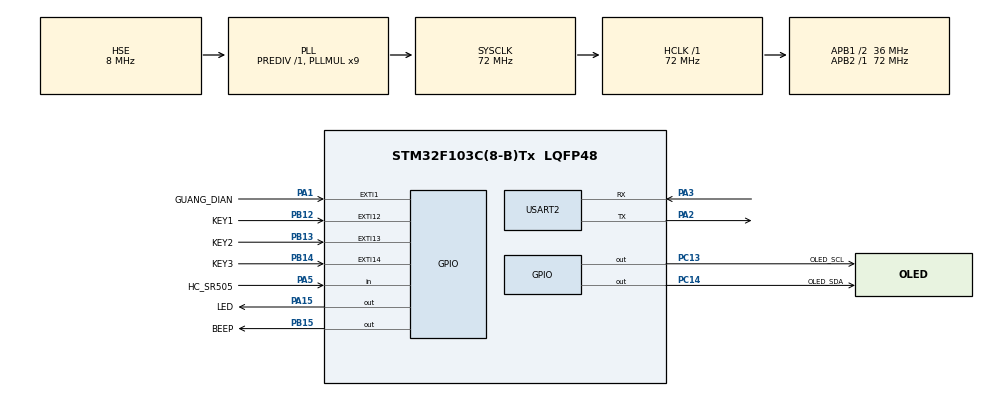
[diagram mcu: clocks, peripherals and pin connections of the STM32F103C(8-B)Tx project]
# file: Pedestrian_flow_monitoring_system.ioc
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Mcu.Family=STM32F1
Mcu.Name=STM32F103C(8-B)Tx
Mcu.Package=LQFP48
NVIC.EXTI15_10_IRQn=true\:0\:0\:false\:false\:true\:true\:true\:true
NVIC.EXTI1_IRQn=true\:1\:0\:true\:false\:true\:true\:true\:true
NVIC.PriorityGroup=NVIC_PRIORITYGROUP_4
NVIC.USART2_IRQn=true\:2\:0\:true\:false\:true\:true\:true\:true
PA1.GPIO_Label=GUANG_DIAN
PA1.GPIO_ModeDefaultEXTI=GPIO_MODE_IT_RISING
PA1.GPIO_PuPd=GPIO_PULLDOWN
PA1.Signal=GPXTI1
PA13.Mode=Serial_Wire
PA13.Signal=SYS_JTMS-SWDIO
PA14.Mode=Serial_Wire
PA14.Signal=SYS_JTCK-SWCLK
PA15.GPIO_Label=LED
PA15.GPIO_ModeDefaultOutputPP=GPIO_MODE_OUTPUT_PP
PA15.GPIO_PuPd=GPIO_PULLUP
PA15.GPIO_Speed=GPIO_SPEED_FREQ_HIGH
PA15.PinState=GPIO_PIN_SET
PA15.Signal=GPIO_Output
PA2.Mode=Asynchronous
PA2.Signal=USART2_TX
PA3.Mode=Asynchronous
PA3.Signal=USART2_RX
PA5.GPIO_Label=HC_SR505
PA5.GPIO_Mode=GPIO_MODE_INPUT
PA5.GPIO_PuPd=GPIO_PULLDOWN
PA5.Signal=GPIO_Input
PB12.GPIO_Label=KEY1
PB12.GPIO_ModeDefaultEXTI=GPIO_MODE_IT_FALLING
PB12.GPIO_PuPd=GPIO_PULLUP
PB12.Signal=GPXTI12
PB13.GPIO_Label=KEY2
PB13.GPIO_ModeDefaultEXTI=GPIO_MODE_IT_FALLING
PB13.GPIO_PuPd=GPIO_PULLUP
PB13.Signal=GPXTI13
PB14.GPIO_Label=KEY3
PB14.GPIO_ModeDefaultEXTI=GPIO_MODE_IT_FALLING
PB14.GPIO_PuPd=GPIO_PULLUP
PB14.Signal=GPXTI14
PB15.GPIO_Label=BEEP
PB15.GPIO_ModeDefaultOutputPP=GPIO_MODE_OUTPUT_PP
PB15.GPIO_PuPd=GPIO_PULLUP
PB15.GPIO_Speed=GPIO_SPEED_FREQ_HIGH
PB15.PinState=GPIO_PIN_SET
PB15.Signal=GPIO_Output
PC13-TAMPER-RTC.GPIO_Label=OLED_SCL
PC13-TAMPER-RTC.GPIO_ModeDefaultOutputPP=GPIO_MODE_OUTPUT_PP
PC13-TAMPER-RTC.GPIO_PuPd=GPIO_PULLUP
PC13-TAMPER-RTC.GPIO_Speed=GPIO_SPEED_FREQ_HIGH
PC13-TAMPER-RTC.PinState=GPIO_PIN_SET
PC13-TAMPER-RTC.Signal=GPIO_Output
PC14-OSC32_IN.GPIO_Label=OLED_SDA
PC14-OSC32_IN.GPIO_ModeDefaultOutputPP=GPIO_MODE_OUTPUT_PP
PC14-OSC32_IN.GPIO_PuPd=GPIO_PULLUP
PC14-OSC32_IN.GPIO_Speed=GPIO_SPEED_FREQ_HIGH
PC14-OSC32_IN.PinState=GPIO_PIN_SET
PC14-OSC32_IN.Signal=GPIO_Output
PD0-OSC_IN.Mode=HSE-External-Oscillator
PD0-OSC_IN.Signal=RCC_OSC_IN
PD1-OSC_OUT.Mode=HSE-External-Oscillator
PD1-OSC_OUT.Signal=RCC_OSC_OUT
ProjectManager.HeapSize=0x200
ProjectManager.StackSize=0x400
ProjectManager.TargetToolchain=MDK-ARM V5.32
RCC.AHBFreq_Value=72000000
RCC.APB1CLKDivider=RCC_HCLK_DIV2
RCC.APB1Freq_Value=36000000
RCC.APB1TimFreq_Value=72000000
RCC.APB2Freq_Value=72000000
RCC.APB2TimFreq_Value=72000000
RCC.HCLKFreq_Value=72000000
RCC.PLLMUL=RCC_PLL_MUL9
RCC.PLLSourceVirtual=RCC_PLLSOURCE_HSE
RCC.SYSCLKFreq_VALUE=72000000
RCC.SYSCLKSource=RCC_SYSCLKSOURCE_PLLCLK
RCC.USBFreq_Value=72000000
USART2.VirtualMode=VM_ASYNC
board=custom

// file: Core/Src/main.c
/* USER CODE BEGIN Header */
/**
  ******************************************************************************
  * @file           : main.c
  * @brief          : Main program body
  ******************************************************************************
  * @attention
  *
  * Copyright (c) 2026 STMicroelectronics.
  * All rights reserved.
  *
  * This software is licensed under terms that can be found in the LICENSE file
  * in the root directory of this software component.
  * If no LICENSE file comes with this software, it is provided AS-IS.
  *
  ******************************************************************************
  */
/* USER CODE END Header */
#include "main.h"
#include "usart.h"
#include "gpio.h"

/* USER CODE BEGIN Includes */
#include "oled.h"
/* USER CODE END Includes */

/* USER CODE BEGIN PV */
uint32_t pedestrian_count = 0; // 人流计数变量
uint32_t last_interrupt_time = 0; // 上次中断时间，用于防抖
#define DEBOUNCE_TIME 200 // 防抖时间，单位ms

uint8_t hc_sr505_count = 0; // HC_SR505连续高电平计数
#define HC_SR505_THRESHOLD 5 // 连续高电平阈值
uint8_t hc_sr505_valid = 0; // HC_SR505有效标志

uint16_t threshold = 50; // 计数人数阈值，默认50人
uint8_t setting_mode = 0; // 设置模式标志，0-正常模式，1-设置模式

// 蜂鸣器和LED控制变量
uint8_t alarm_active = 0; // 报警激活标志
uint32_t alarm_start_time = 0; // 报警开始时间
#define ALARM_DURATION 5000 // 报警持续时间，单位ms
uint8_t alarm_triggered = 0; // 报警已触发标志，0-未触发，1-已触发

// 蓝牙连接状态
uint8_t ble_connected = 0; // 蓝牙连接状态，0-未连接，1-已连接

// 串口2接收缓冲区
uint8_t uart2_rx_buffer[100]; // 接收缓冲区
uint8_t uart2_rx_index = 0; // 接收索引
#define UART2_BUFFER_SIZE 100 // 缓冲区大小

// FLASH相关定义
#define FLASH_USER_START_ADDR   ((uint32_t)0x0801FC00) // FLASH用户存储区起始地址
#define FLASH_USER_END_ADDR     ((uint32_t)0x08020000) // FLASH用户存储区结束地址
/* USER CODE END PV */

void SystemClock_Config(void);
/* USER CODE BEGIN PFP */
void FLASH_WriteThreshold(uint16_t value);
uint16_t FLASH_ReadThreshold(void);
void EnterSettingMode(void);
void ExitSettingMode(void);
void UpdateThresholdDisplay(void);
void HAL_UART_RxCpltCallback(UART_HandleTypeDef *huart);
void CheckBLEStatus(void);
/* USER CODE END PFP */

/* USER CODE BEGIN 0 */

/**
  * @brief  写入阈值到FLASH
  * @param  value: 要写入的阈值
  * @retval None
  */
void FLASH_WriteThreshold(uint16_t value)
{
  HAL_FLASH_Unlock();

  // 擦除FLASH扇区
  FLASH_EraseInitTypeDef EraseInitStruct;
  EraseInitStruct.TypeErase = FLASH_TYPEERASE_PAGES;
  EraseInitStruct.PageAddress = FLASH_USER_START_ADDR;
  EraseInitStruct.NbPages = 1;

  uint32_t PageError = 0;
  HAL_FLASHEx_Erase(&EraseInitStruct, &PageError);

  // 写入阈值
  HAL_FLASH_Program(FLASH_TYPEPROGRAM_HALFWORD, FLASH_USER_START_ADDR, value);

  HAL_FLASH_Lock();
}

/**
  * @brief  从FLASH读取阈值
  * @retval 读取的阈值
  */
uint16_t FLASH_ReadThreshold(void)
{
  return *(__IO uint16_t*)FLASH_USER_START_ADDR;
}

/**
  * @brief  进入设置模式
  * @retval None
  */
void EnterSettingMode(void)
{
  setting_mode = 1;
  UpdateThresholdDisplay();
}

/**
  * @brief  退出设置模式
  * @retval None
  */
void ExitSettingMode(void)
{
  setting_mode = 0;
  // 保存阈值到FLASH
  FLASH_WriteThreshold(threshold);
  // 显示正常模式界面
  OLED_Clear();
  OLED_ShowString(0, 0, (uint8_t*)"Count:", 8, 1);
  OLED_ShowNum(40, 0, pedestrian_count, 4, 8, 1);
  OLED_ShowString(72, 0, (uint8_t*)"people", 8, 1);
  // 显示蓝牙连接状态
  if(ble_connected)
  {
    OLED_ShowString(0, 8, (uint8_t*)"BLE: Connected", 8, 1);
  }
  else
  {
    OLED_ShowString(0, 8, (uint8_t*)"BLE: Disconnected", 8, 1);
  }
  OLED_Refresh();
}

/**
  * @brief  更新阈值显示
  * @retval None
  */
void UpdateThresholdDisplay(void)
{
  OLED_Clear();
  OLED_ShowString(0, 0, (uint8_t*)"Setting Threshold", 8, 1);
  OLED_ShowString(0, 8, (uint8_t*)"Threshold:", 8, 1);
  OLED_ShowNum(56, 8, threshold, 3, 8, 1);
  OLED_ShowString(80, 8, (uint8_t*)"people", 8, 1);
  OLED_ShowString(0, 16, (uint8_t*)"KEY2: -10", 8, 1);
  OLED_ShowString(0, 24, (uint8_t*)"KEY3: +10", 8, 1);
  OLED_Refresh();
}

/**
  * @brief  UART Receive Completed Callback
  * @param  huart: UART handle
  * @retval None
  */
void HAL_UART_RxCpltCallback(UART_HandleTypeDef *huart)
{
  if(huart == &huart2)
  {
    // 读取接收到的数据
    static uint8_t rx_data;

    // 存储到缓冲区
    if(uart2_rx_index < UART2_BUFFER_SIZE - 1)
    {
      uart2_rx_buffer[uart2_rx_index++] = rx_data;
      uart2_rx_buffer[uart2_rx_index] = '\0'; // 确保字符串结束
    }
    else
    {
      // 缓冲区满，重置索引
      uart2_rx_index = 0;
    }

    // 检查是否接收到换行符或回车符，表示消息结束
    if(rx_data == '\n' || rx_data == '\r' || uart2_rx_index >= UART2_BUFFER_SIZE - 1)
    {
      // 检查蓝牙连接状态
      CheckBLEStatus();
    }

    // 重新启动接收中断
    HAL_UART_Receive_IT(&huart2, &rx_data, 1);
  }
}

/**
  * @brief  检查蓝牙连接状态并显示串口数据
  * @retval None
  */
void CheckBLEStatus(void)
{
  // 检查是否包含"CONNECT OK"
  if(strstr((char*)uart2_rx_buffer, "CONNECT OK") != NULL)
  {
    ble_connected = 1;
    // 如果不在设置模式，更新显示
    if(!setting_mode)
    {
      OLED_Clear();
      OLED_ShowString(0, 0, (uint8_t*)"Count:", 8, 1);
      OLED_ShowNum(40, 0, pedestrian_count, 4, 8, 1);
      OLED_ShowString(72, 0, (uint8_t*)"people", 8, 1);
      OLED_ShowString(0, 8, (uint8_t*)"BLE: Connected", 8, 1);
//      OLED_ShowString(0, 16, (uint8_t*)"Rx:", 8, 1);
//      OLED_ShowString(24, 16, uart2_rx_buffer, 8, 1);
      OLED_Refresh();
    }
    // 清空缓冲区
    uart2_rx_index = 0;
    memset(uart2_rx_buffer, 0, UART2_BUFFER_SIZE);
  }
  // 检查是否包含"DISCONNECT"
  else if(strstr((char*)uart2_rx_buffer, "DISCONNECT") != NULL)
  {
    ble_connected = 0;
    // 如果不在设置模式，更新显示
    if(!setting_mode)
    {
      OLED_Clear();
      OLED_ShowString(0, 0, (uint8_t*)"Count:", 8, 1);
      OLED_ShowNum(40, 0, pedestrian_count, 4, 8, 1);
      OLED_ShowString(72, 0, (uint8_t*)"people", 8, 1);
      OLED_ShowString(0, 8, (uint8_t*)"BLE: Disconnected", 8, 1);
      OLED_ShowString(0, 16, (uint8_t*)"Rx:", 8, 1);
      OLED_ShowString(24, 16, uart2_rx_buffer, 8, 1);
      OLED_Refresh();
    }
    // 清空缓冲区
    uart2_rx_index = 0;
    memset(uart2_rx_buffer, 0, UART2_BUFFER_SIZE);
  }
  // 检查是否包含"clear"命令
  else if(strstr((char*)uart2_rx_buffer, "clear") != NULL)
  {
    // 清理检测到的人数
    pedestrian_count = 0;
    alarm_triggered = 0;
    // 如果不在设置模式，更新显示
    if(!setting_mode)
    {
      OLED_Clear();
      OLED_ShowString(0, 0, (uint8_t*)"Count:", 8, 1);
      OLED_ShowNum(40, 0, pedestrian_count, 4, 8, 1);
      OLED_ShowString(72, 0, (uint8_t*)"people", 8, 1);
      // 显示蓝牙连接状态
      if(ble_connected)
      {
        OLED_ShowString(0, 8, (uint8_t*)"BLE: Connected", 8, 1);
      }
      else
      {
        OLED_ShowString(0, 8, (uint8_t*)"BLE: Disconnected", 8, 1);
      }
      OLED_ShowString(0, 16, (uint8_t*)"Clear count done", 8, 1);
      OLED_Refresh();
    }
    // 清空缓冲区
    uart2_rx_index = 0;
    memset(uart2_rx_buffer, 0, UART2_BUFFER_SIZE);
  }
  // 检查是否包含"alert"命令
  else if(strstr((char*)uart2_rx_buffer, "alert") != NULL)
  {
    // 手动触发报警
    alarm_active = 1;
    alarm_start_time = HAL_GetTick();
    alarm_triggered = 1;
    // 控制蜂鸣器和LED
    HAL_GPIO_WritePin(BEEP_GPIO_Port, BEEP_Pin, GPIO_PIN_RESET);
    HAL_GPIO_WritePin(LED_GPIO_Port, LED_Pin, GPIO_PIN_RESET);
    // 如果不在设置模式，更新显示
    if(!setting_mode)
    {
      OLED_Clear();
      OLED_ShowString(0, 0, (uint8_t*)"Count:", 8, 1);
      OLED_ShowNum(40, 0, pedestrian_count, 4, 8, 1);
      OLED_ShowString(72, 0, (uint8_t*)"people", 8, 1);
      // 显示蓝牙连接状态
      if(ble_connected)
      {
        OLED_ShowString(0, 8, (uint8_t*)"BLE: Connected", 8, 1);
      }
      else
      {
        OLED_ShowString(0, 8, (uint8_t*)"BLE: Disconnected", 8, 1);
      }
      OLED_ShowString(0, 16, (uint8_t*)"Manual alarm", 8, 1);
      OLED_Refresh();
    }
    // 清空缓冲区
    uart2_rx_index = 0;
    memset(uart2_rx_buffer, 0, UART2_BUFFER_SIZE);
  }
  // 其他数据，直接显示
  else if(uart2_rx_index > 0)
  {
    // 如果不在设置模式，更新显示
    if(!setting_mode)
    {
      OLED_Clear();
      OLED_ShowString(0, 0, (uint8_t*)"Count:", 8, 1);
      OLED_ShowNum(40, 0, pedestrian_count, 4, 8, 1);
      OLED_ShowString(72, 0, (uint8_t*)"people", 8, 1);
      // 显示蓝牙连接状态
      if(ble_connected)
      {
        OLED_ShowString(0, 8, (uint8_t*)"BLE: Connected", 8, 1);
      }
      else
      {
        OLED_ShowString(0, 8, (uint8_t*)"BLE: Disconnected", 8, 1);
      }
      // 显示接收到的数据
      OLED_ShowString(0, 16, (uint8_t*)"Rx:", 8, 1);
      OLED_ShowString(24, 16, uart2_rx_buffer, 8, 1);
      OLED_Refresh();
    }
    // 清空缓冲区
    uart2_rx_index = 0;
    memset(uart2_rx_buffer, 0, UART2_BUFFER_SIZE);
  }
}

/* USER CODE END 0 */

int main(void)
{

  /* MCU Configuration--------------------------------------------------------*/

  /* Reset of all peripherals, Initializes the Flash interface and the Systick. */
  HAL_Init();

  /* Configure the system clock */
  SystemClock_Config();

  /* Initialize all configured peripherals */
  MX_GPIO_Init();
  /* USER CODE BEGIN 2 */
  OLED_Init();

  // 初始化BEEP和LED为关闭状态（高电平）
  HAL_GPIO_WritePin(BEEP_GPIO_Port, BEEP_Pin, GPIO_PIN_SET);
  HAL_GPIO_WritePin(LED_GPIO_Port, LED_Pin, GPIO_PIN_SET);

  // 初始化串口2
  MX_USART2_UART_Init();

  // 从FLASH读取阈值
  uint16_t saved_threshold = FLASH_ReadThreshold();
  // 检查读取的值是否有效（0-100之间）
  if(saved_threshold <= 100)
  {
    threshold = saved_threshold;
  }
  else
  {
    // 如果无效，使用默认值并保存
    threshold = 5; // 降低默认阈值以便测试
    FLASH_WriteThreshold(threshold);
  }

  // 显示初始人流计数、阈值和蓝牙连接状态
  OLED_Clear();
  OLED_ShowString(0, 0, (uint8_t*)"Count:", 8, 1);
  OLED_ShowNum(40, 0, pedestrian_count, 4, 8, 1);
  OLED_ShowString(72, 0, (uint8_t*)"people", 8, 1);
  OLED_ShowString(0, 8, (uint8_t*)"Threshold:", 8, 1);
  OLED_ShowNum(64, 8, threshold, 3, 8, 1);
  OLED_ShowString(0, 16, (uint8_t*)"BLE: Disconnected", 8, 1);
  OLED_Refresh();
  /* USER CODE END 2 */

  /* Infinite loop */
  while (1)
  {

    /* USER CODE BEGIN 3 */
    // 检测HC_SR505状态
    if(HAL_GPIO_ReadPin(HC_SR505_GPIO_Port, HC_SR505_Pin) == GPIO_PIN_SET)
    {
      // 高电平，计数加1
      if(hc_sr505_count < HC_SR505_THRESHOLD)
      {
        hc_sr505_count++;
      }

      // 达到阈值，设置有效标志
      if(hc_sr505_count >= HC_SR505_THRESHOLD)
      {
        hc_sr505_valid = 1;
      }
    }
    else
    {
      // 低电平，重置计数和标志
      hc_sr505_count = 0;
      hc_sr505_valid = 0;
    }

    // 检查是否超过阈值，控制蜂鸣器和LED
    if(pedestrian_count > threshold && !alarm_active && !alarm_triggered)
    {
      // 激活报警
      alarm_active = 1;
      alarm_start_time = HAL_GetTick();
      // 拉低BEEP和LED，使其工作
      HAL_GPIO_WritePin(BEEP_GPIO_Port, BEEP_Pin, GPIO_PIN_RESET);
      HAL_GPIO_WritePin(LED_GPIO_Port, LED_Pin, GPIO_PIN_RESET);
      // 设置报警已触发标志
      alarm_triggered = 1;
      // 更新显示，显示报警信息
      if(!setting_mode)
      {
        OLED_Clear();
        OLED_ShowString(0, 0, (uint8_t*)"Count:", 8, 1);
        OLED_ShowNum(40, 0, pedestrian_count, 4, 8, 1);
        OLED_ShowString(72, 0, (uint8_t*)"people", 8, 1);
        OLED_ShowString(0, 8, (uint8_t*)"ALARM! Over threshold", 8, 1);
        OLED_ShowString(0, 16, (uint8_t*)"Threshold:", 8, 1);
        OLED_ShowNum(64, 16, threshold, 3, 8, 1);
        OLED_ShowString(0, 24, (uint8_t*)"Alarm triggered", 8, 1);
        OLED_Refresh();
      }
      // 强制发送警告信息，不管蓝牙是否连接
      char warning_msg[50];
      sprintf(warning_msg, "ALARM: Pedestrian count %ld over threshold %d\r\n", pedestrian_count, threshold);
      HAL_UART_Transmit(&huart2, (uint8_t*)warning_msg, strlen(warning_msg), HAL_MAX_DELAY);
    }

    // 检查报警是否需要关闭
    if(alarm_active && (HAL_GetTick() - alarm_start_time > ALARM_DURATION))
    {
      // 关闭报警
      alarm_active = 0;
      // 拉高BEEP和LED，使其关闭
      HAL_GPIO_WritePin(BEEP_GPIO_Port, BEEP_Pin, GPIO_PIN_SET);
      HAL_GPIO_WritePin(LED_GPIO_Port, LED_Pin, GPIO_PIN_SET);
      // 更新显示
      if(!setting_mode)
      {
        OLED_Clear();
        OLED_ShowString(0, 0, (uint8_t*)"Count:", 8, 1);
        OLED_ShowNum(40, 0, pedestrian_count, 4, 8, 1);
        OLED_ShowString(72, 0, (uint8_t*)"people", 8, 1);
        OLED_ShowString(0, 8, (uint8_t*)"Alarm stopped", 8, 1);
        // 显示蓝牙连接状态
        if(ble_connected)
        {
          OLED_ShowString(0, 16, (uint8_t*)"BLE: Connected", 8, 1);
        }
        else
        {
          OLED_ShowString(0, 16, (uint8_t*)"BLE: Disconnected", 8, 1);
        }
        OLED_Refresh();
      }
    }

    // 短暂延时，避免频繁检测
    HAL_Delay(50);
  }
  /* USER CODE END 3 */
}

void SystemClock_Config(void)
{
  RCC_OscInitTypeDef RCC_OscInitStruct = {0};
  RCC_ClkInitTypeDef RCC_ClkInitStruct = {0};

  /** Initializes the RCC Oscillators according to the specified parameters
  * in the RCC_OscInitTypeDef structure.
  */
  RCC_OscInitStruct.OscillatorType = RCC_OSCILLATORTYPE_HSE;
  RCC_OscInitStruct.HSEState = RCC_HSE_ON;
  RCC_OscInitStruct.HSEPredivValue = RCC_HSE_PREDIV_DIV1;
  RCC_OscInitStruct.HSIState = RCC_HSI_ON;
  RCC_OscInitStruct.PLL.PLLState = RCC_PLL_ON;
  RCC_OscInitStruct.PLL.PLLSource = RCC_PLLSOURCE_HSE;
  RCC_OscInitStruct.PLL.PLLMUL = RCC_PLL_MUL9;
  if (HAL_RCC_OscConfig(&RCC_OscInitStruct) != HAL_OK)
  {
    Error_Handler();
  }

  /** Initializes the CPU, AHB and APB buses clocks
  */
  RCC_ClkInitStruct.ClockType = RCC_CLOCKTYPE_HCLK|RCC_CLOCKTYPE_SYSCLK
                              |RCC_CLOCKTYPE_PCLK1|RCC_CLOCKTYPE_PCLK2;
  RCC_ClkInitStruct.SYSCLKSource = RCC_SYSCLKSOURCE_PLLCLK;
  RCC_ClkInitStruct.AHBCLKDivider = RCC_SYSCLK_DIV1;
  RCC_ClkInitStruct.APB1CLKDivider = RCC_HCLK_DIV2;
  RCC_ClkInitStruct.APB2CLKDivider = RCC_HCLK_DIV1;

  if (HAL_RCC_ClockConfig(&RCC_ClkInitStruct, FLASH_LATENCY_2) != HAL_OK)
  {
    Error_Handler();
  }
}

/* USER CODE BEGIN 4 */

/**
  * @brief  EXTI line detection callback.
  * @param  GPIO_Pin: Specifies the port pin connected to corresponding EXTI line.
  * @retval None
  */
void HAL_GPIO_EXTI_Callback(uint16_t GPIO_Pin)
{
  // 防抖处理
  uint32_t current_time = HAL_GetTick();
  if(current_time - last_interrupt_time > DEBOUNCE_TIME)
  {
    if(GPIO_Pin == GUANG_DIAN_Pin)
    {
      // 只有当HC_SR505有效且不在设置模式时才计数
      if(hc_sr505_valid && !setting_mode)
      {
        // 人流计数加1
        pedestrian_count++;

        // 清除OLED显示
        OLED_Clear();

        // 显示人流数量
        OLED_ShowString(0, 0, (uint8_t*)"Count:", 8, 1);
        OLED_ShowNum(40, 0, pedestrian_count, 4, 8, 1);
        OLED_ShowString(72, 0, (uint8_t*)"people", 8, 1);

        // 显示蓝牙连接状态
        if(ble_connected)
        {
          OLED_ShowString(0, 8, (uint8_t*)"BLE: Connected", 8, 1);
        }
        else
        {
          OLED_ShowString(0, 8, (uint8_t*)"BLE: Disconnected", 8, 1);
        }

        // 刷新OLED显示
        OLED_Refresh();
      }
    }
    else if(GPIO_Pin == KEY1_Pin)
    {
      // KEY1按下，切换设置模式
      if(setting_mode)
      {
        // 退出设置模式
        ExitSettingMode();
      }
      else
      {
        // 进入设置模式
        EnterSettingMode();
      }
    }
    else if(GPIO_Pin == KEY2_Pin)
    {
      if(setting_mode)
      {
        // 设置模式：减10
        if(threshold > 0)
        {
          threshold -= 10;
        }
        else
        {
          threshold = 100;
        }
        UpdateThresholdDisplay();
      }
      else
      {
        // 正常模式：清理人数，重置报警触发标志
        pedestrian_count = 0;
        alarm_triggered = 0;
        // 更新显示
        OLED_Clear();
        OLED_ShowString(0, 0, (uint8_t*)"Count:", 8, 1);
        OLED_ShowNum(40, 0, pedestrian_count, 4, 8, 1);
        OLED_ShowString(72, 0, (uint8_t*)"people", 8, 1);
        // 显示蓝牙连接状态
        if(ble_connected)
        {
          OLED_ShowString(0, 8, (uint8_t*)"BLE: Connected", 8, 1);
        }
        else
        {
          OLED_ShowString(0, 8, (uint8_t*)"BLE: Disconnected", 8, 1);
        }
        OLED_Refresh();
      }
    }
    else if(GPIO_Pin == KEY3_Pin && setting_mode)
    {
      // KEY3按下，加10
      if(threshold < 100)
      {
        threshold += 10;
      }
      else
      {
        threshold = 0;
      }
      UpdateThresholdDisplay();
    }

    // 更新上次中断时间
    last_interrupt_time = current_time;
  }
}

/* USER CODE END 4 */

void Error_Handler(void)
{
  __disable_irq();
  while (1)
  {
  }
}
